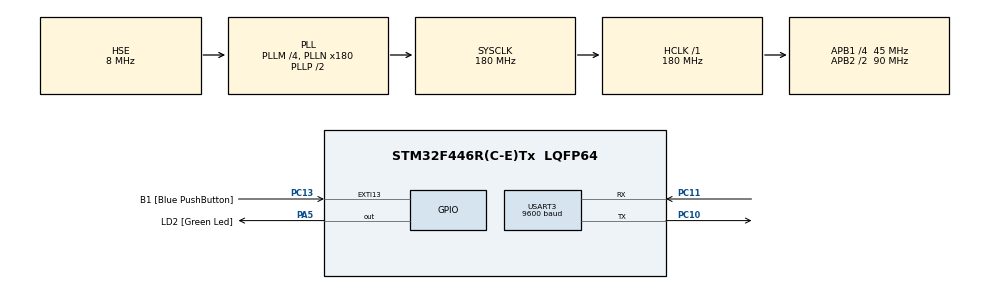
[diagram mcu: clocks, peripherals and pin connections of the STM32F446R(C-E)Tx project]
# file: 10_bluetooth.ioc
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Mcu.Family=STM32F4
Mcu.Name=STM32F446R(C-E)Tx
Mcu.Package=LQFP64
NVIC.PriorityGroup=NVIC_PRIORITYGROUP_0
PA13.GPIO_Label=TMS
PA13.Mode=Serial_Wire
PA13.Signal=SYS_JTMS-SWDIO
PA14.GPIO_Label=TCK
PA14.Mode=Serial_Wire
PA14.Signal=SYS_JTCK-SWCLK
PA2.GPIO_Label=USART_TX
PA2.Signal=USART2_TX
PA3.GPIO_Label=USART_RX
PA3.Signal=USART2_RX
PA5.GPIO_Label=LD2 [Green Led]
PA5.Signal=GPIO_Output
PB3.GPIO_Label=SWO
PB3.Signal=SYS_JTDO-SWO
PC10.Mode=Asynchronous
PC10.Signal=USART3_TX
PC11.Mode=Asynchronous
PC11.Signal=USART3_RX
PC13.GPIO_Label=B1 [Blue PushButton]
PC13.GPIO_ModeDefaultEXTI=GPIO_MODE_EVT_RISING
PC13.Signal=GPXTI13
PC14-OSC32_IN.Signal=RCC_OSC32_IN
PC15-OSC32_OUT.Signal=RCC_OSC32_OUT
PH0-OSC_IN.Mode=HSE-External-Clock-Source
PH0-OSC_IN.Signal=RCC_OSC_IN
PH1-OSC_OUT.Mode=HSE-External-Clock-Source
PH1-OSC_OUT.Signal=RCC_OSC_OUT
ProjectManager.HeapSize=0x200
ProjectManager.StackSize=0x400
ProjectManager.TargetToolchain=SW4STM32
RCC.AHBFreq_Value=180000000
RCC.APB1CLKDivider=RCC_HCLK_DIV4
RCC.APB1Freq_Value=45000000
RCC.APB1TimFreq_Value=90000000
RCC.APB2CLKDivider=RCC_HCLK_DIV2
RCC.APB2Freq_Value=90000000
RCC.APB2TimFreq_Value=180000000
RCC.CortexFreq_Value=180000000
RCC.FLatency-AdvancedSettings=FLASH_LATENCY_5
RCC.HCLKFreq_Value=180000000
RCC.HSE_VALUE=8000000
RCC.HSI_VALUE=16000000
RCC.LSE_VALUE=32768
RCC.PLLM=4
RCC.PLLN=180
RCC.PLLSourceVirtual=RCC_PLLSOURCE_HSE
RCC.SYSCLKFreq_VALUE=180000000
RCC.SYSCLKSource=RCC_SYSCLKSOURCE_PLLCLK
RCC.USBFreq_Value=180000000
RCC.VCOOutputFreq_Value=360000000
USART3.BaudRate=9600
board=NUCLEO-F446RE

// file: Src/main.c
/**
  ******************************************************************************
  * File Name          : main.c
  * Description        : Main program body
  ******************************************************************************
  *
  * COPYRIGHT(c) 2016 STMicroelectronics
  *
  * Redistribution and use in source and binary forms, with or without modification,
  * are permitted provided that the following conditions are met:
  *   1. Redistributions of source code must retain the above copyright notice,
  *      this list of conditions and the following disclaimer.
  *   2. Redistributions in binary form must reproduce the above copyright notice,
  *      this list of conditions and the following disclaimer in the documentation
  *      and/or other materials provided with the distribution.
  *   3. Neither the name of STMicroelectronics nor the names of its contributors
  *      may be used to endorse or promote products derived from this software
  *      without specific prior written permission.
  *
  * THIS SOFTWARE IS PROVIDED BY THE COPYRIGHT HOLDERS AND CONTRIBUTORS "AS IS"
  * AND ANY EXPRESS OR IMPLIED WARRANTIES, INCLUDING, BUT NOT LIMITED TO, THE
  * IMPLIED WARRANTIES OF MERCHANTABILITY AND FITNESS FOR A PARTICULAR PURPOSE ARE
  * DISCLAIMED. IN NO EVENT SHALL THE COPYRIGHT HOLDER OR CONTRIBUTORS BE LIABLE
  * FOR ANY DIRECT, INDIRECT, INCIDENTAL, SPECIAL, EXEMPLARY, OR CONSEQUENTIAL
  * DAMAGES (INCLUDING, BUT NOT LIMITED TO, PROCUREMENT OF SUBSTITUTE GOODS OR
  * SERVICES; LOSS OF USE, DATA, OR PROFITS; OR BUSINESS INTERRUPTION) HOWEVER
  * CAUSED AND ON ANY THEORY OF LIABILITY, WHETHER IN CONTRACT, STRICT LIABILITY,
  * OR TORT (INCLUDING NEGLIGENCE OR OTHERWISE) ARISING IN ANY WAY OUT OF THE USE
  * OF THIS SOFTWARE, EVEN IF ADVISED OF THE POSSIBILITY OF SUCH DAMAGE.
  *
  ******************************************************************************
  */
#include "main.h"
#include "stm32f4xx_hal.h"
#include "usart.h"
#include "gpio.h"

/* USER CODE BEGIN Includes */
#include "string.h"
/* USER CODE END Includes */

/* USER CODE BEGIN PV */
/* Private variables ---------------------------------------------------------*/
char * text = "ping-pong\r\n";
HAL_StatusTypeDef UART_Receive_Until(UART_HandleTypeDef *huart, uint8_t *pData, uint8_t *delimter, uint32_t Timeout);
/* USER CODE END PV */

void SystemClock_Config(void);
void Error_Handler(void);

/* USER CODE BEGIN PFP */
/* Private function prototypes -----------------------------------------------*/

/* USER CODE END PFP */

int main(void)
{

  /* MCU Configuration----------------------------------------------------------*/

  /* Reset of all peripherals, Initializes the Flash interface and the Systick. */
  HAL_Init();

  /* Configure the system clock */
  SystemClock_Config();

  /* Initialize all configured peripherals */
  MX_GPIO_Init();
  MX_USART3_UART_Init();

  /* USER CODE BEGIN 2 */
  LCD_Init();
//  LCD_SetTextSize(3);

  char buf[256];
  char read_buf[256];
//  sprintf(buf, "AT+UART=%d,0,0\r\n", somval);
  sprintf(buf, "AT+NAMEmastak\r\n");
//  sprintf(buf, "hello\r\n");
  /* USER CODE END 2 */

  /* Infinite loop */
  /* USER CODE BEGIN WHILE */
  while (1)
  {
	  HAL_UART_Transmit(&huart3, buf, strlen(buf), 300);
	  // HAL_UART_Receive(&huart3, &read_buf, 2);
    UART_Receive_Until(&huart3, &read_buf, "\r", 500);
    LCD_Printf("FULL %s\n", read_buf);
	  HAL_Delay(5000);

  /* USER CODE END WHILE */

  }

}

/** System Clock Configuration
*/
void SystemClock_Config(void)
{

  RCC_OscInitTypeDef RCC_OscInitStruct;
  RCC_ClkInitTypeDef RCC_ClkInitStruct;

    /**Configure the main internal regulator output voltage
    */
  __HAL_RCC_PWR_CLK_ENABLE();

  __HAL_PWR_VOLTAGESCALING_CONFIG(PWR_REGULATOR_VOLTAGE_SCALE1);

    /**Initializes the CPU, AHB and APB busses clocks
    */
  RCC_OscInitStruct.OscillatorType = RCC_OSCILLATORTYPE_HSE;
  RCC_OscInitStruct.HSEState = RCC_HSE_BYPASS;
  RCC_OscInitStruct.PLL.PLLState = RCC_PLL_ON;
  RCC_OscInitStruct.PLL.PLLSource = RCC_PLLSOURCE_HSE;
  RCC_OscInitStruct.PLL.PLLM = 4;
  RCC_OscInitStruct.PLL.PLLN = 180;
  RCC_OscInitStruct.PLL.PLLP = RCC_PLLP_DIV2;
  RCC_OscInitStruct.PLL.PLLQ = 2;
  RCC_OscInitStruct.PLL.PLLR = 2;
  if (HAL_RCC_OscConfig(&RCC_OscInitStruct) != HAL_OK)
  {
    Error_Handler();
  }

    /**Activate the Over-Drive mode
    */
  if (HAL_PWREx_EnableOverDrive() != HAL_OK)
  {
    Error_Handler();
  }

    /**Initializes the CPU, AHB and APB busses clocks
    */
  RCC_ClkInitStruct.ClockType = RCC_CLOCKTYPE_HCLK|RCC_CLOCKTYPE_SYSCLK
                              |RCC_CLOCKTYPE_PCLK1|RCC_CLOCKTYPE_PCLK2;
  RCC_ClkInitStruct.SYSCLKSource = RCC_SYSCLKSOURCE_PLLCLK;
  RCC_ClkInitStruct.AHBCLKDivider = RCC_SYSCLK_DIV1;
  RCC_ClkInitStruct.APB1CLKDivider = RCC_HCLK_DIV4;
  RCC_ClkInitStruct.APB2CLKDivider = RCC_HCLK_DIV2;

  if (HAL_RCC_ClockConfig(&RCC_ClkInitStruct, FLASH_LATENCY_5) != HAL_OK)
  {
    Error_Handler();
  }

    /**Configure the Systick interrupt time
    */
  HAL_SYSTICK_Config(HAL_RCC_GetHCLKFreq()/1000);

    /**Configure the Systick
    */
  HAL_SYSTICK_CLKSourceConfig(SYSTICK_CLKSOURCE_HCLK);

  /* SysTick_IRQn interrupt configuration */
  HAL_NVIC_SetPriority(SysTick_IRQn, 0, 0);
}

/* USER CODE BEGIN 4 */
HAL_StatusTypeDef UART_Receive_Until(UART_HandleTypeDef *huart, uint8_t *pData, uint8_t *delimter, uint32_t Timeout) {
	uint8_t ch,
          data_cursor = 0,
          delimter_cursor = 0,
          delimter_len = strlen(delimter);

	HAL_StatusTypeDef result;

	while (1) {
		result = HAL_UART_Receive(&huart3, &ch, 1, Timeout);
		if (result != HAL_OK) {
			pData[data_cursor] = 0;
			return result;
		}
//    LCD_Printf("%c\n", ch);

    pData[data_cursor] = ch;
    data_cursor++;

    if (delimter[delimter_cursor] == ch) {
      delimter_cursor++;
      if (delimter_cursor == delimter_len) {
    	  pData[data_cursor] = 0;
    	  return result;
      }
    }
  }
}
/* USER CODE END 4 */

void Error_Handler(void)
{
  while(1)
  {
  }
}

/************************ (C) COPYRIGHT STMicroelectronics *****END OF FILE****/
